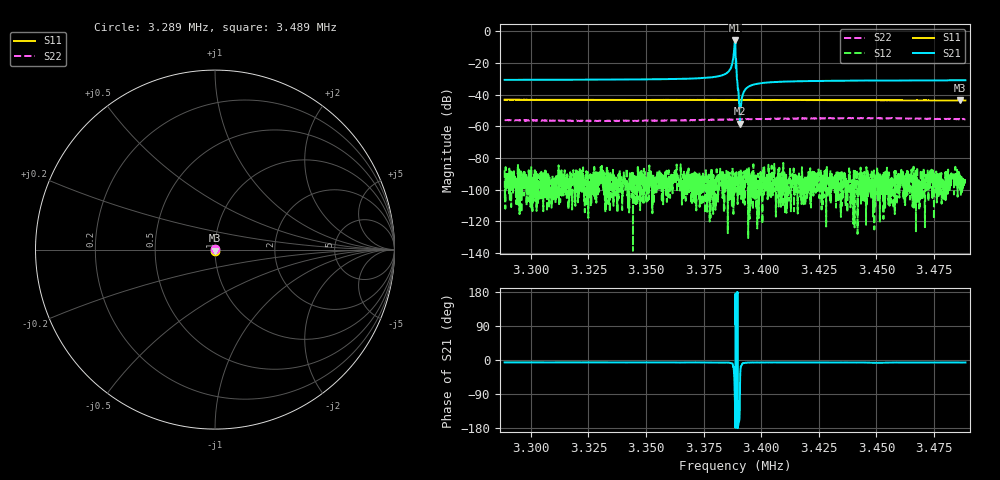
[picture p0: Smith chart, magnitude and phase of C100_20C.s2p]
# Hz S dB R 50.000
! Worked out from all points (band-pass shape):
!   6401 points, 3.289 MHz to 3.489 MHz, reference 50 ohm
!   highest |S21| = -5.72 dB at 3.389 MHz (marker M1); lowest = -58.3 dB at 3.391 MHz (marker M2)
!   |S21| within 3 dB of the highest: 3.388378 MHz to 3.388777 MHz (398.9 Hz wide, 0.0118 % of centre)
!   lowest |S11| = -43.6 dB at 3.486 MHz (marker M3), VSWR 1.01, Z = 49.9 - j0.648 ohm
!   |S11| at or under -10 dB: start of sweep to end of sweep
!   |S22| runs from -56.8 to -54.6 dB; largest |S21 - S12| = 0.52
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3288594  -43.18 -101.7  -30.62 -6.3  -87.88 58.3  -56.00 87.0
3321938  -43.29 -100.8  -30.51 -6.4  -94.36 90.9  -56.55 89.9
3355282  -43.31 -99.7  -30.21 -6.4  -91.50 67.1  -56.33 90.4
3382282  -43.29 -101.2  -28.03 -6.8  -90.74 7.9  -55.71 89.5
3385875  -43.27 -101.4  -25.26 -7.1  -91.36 -26.9  -55.72 89.4
3386938  -43.29 -101.4  -22.75 -8.3  -97.67 -175.0  -55.81 90.5
3387500  -43.33 -101.6  -19.62 -9.1  -86.25 33.7  -55.86 89.9
3387844  -43.31 -101.5  -17.07 -18.3  -98.71 3.7  -55.77 91.3
3388219  -43.29 -101.4  -11.51 -38.4  -97.61 86.3  -55.91 91.2
3388594  -43.34 -101.7  -5.72 -112.6  -89.89 -41.2  -55.33 93.6
3389219  -43.26 -101.4  -24.71 -153.7  -88.97 107.5  -55.60 90.4
3389875  -43.29 -101.5  -36.83 -174.6  -98.93 97.6  -55.54 89.1
3390156  -43.29 -101.7  -39.12 -165.0  -94.69 104.3  -55.63 89.8
3390750  -43.31 -101.6  -58.34 -78.5  -91.90 3.7  -55.47 90.0
3391313  -43.33 -101.4  -44.59 -15.1  -100.08 -94.0  -55.62 89.7
3392219  -43.32 -101.4  -38.84 -8.3  -99.95 145.7  -55.49 90.0
3393156  -43.33 -101.7  -36.57 -7.1  -93.55 69.8  -55.35 90.0
3396500  -43.31 -101.8  -33.67 -6.7  -88.62 28.9  -55.45 90.1
3421938  -43.39 -101.3  -31.37 -6.5  -92.53 -37.1  -54.97 95.1
3455282  -43.49 -100.0  -31.11 -6.7  -91.10 -69.4  -54.98 97.4
3486094  -43.63 -99.8  -30.88 -6.6  -92.75 116.6  -55.55 92.1
3488594  -43.60 -100.0  -30.87 -6.6  -91.85 85.2  -55.47 90.3
